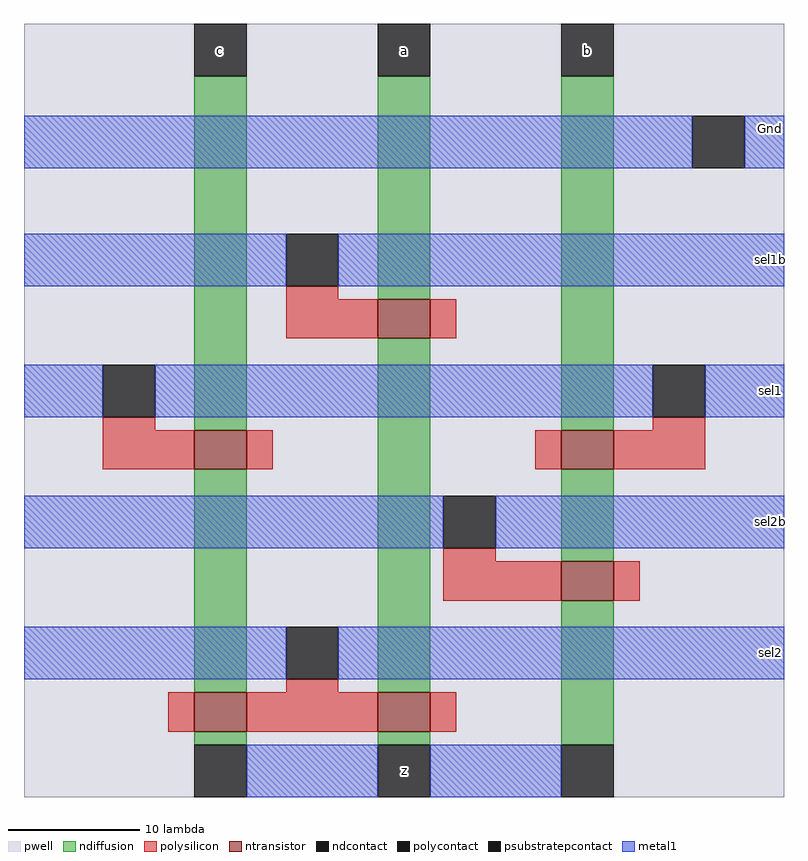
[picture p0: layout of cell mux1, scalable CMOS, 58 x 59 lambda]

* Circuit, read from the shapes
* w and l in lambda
.subckt mux1 Gnd a b c sel1 sel1b sel2 sel2b z
M1 n1 sel2 z Gnd nfet w=4 l=3
M2 c sel1 n1 Gnd nfet w=4 l=3
M3 n2 sel2 z Gnd nfet w=4 l=3
M4 a sel1b n2 Gnd nfet w=4 l=3
M5 n3 sel2b z Gnd nfet w=4 l=3
M6 b sel1 n3 Gnd nfet w=4 l=3
.ends

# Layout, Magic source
magic
tech scmos
<< pwell >>
rect -29 -38 29 21
<< polysilicon >>
rect -23 -10 -19 -9
rect -9 0 -5 1
rect -9 -3 -2 0
rect 2 -3 4 0
rect -23 -13 -16 -10
rect -12 -13 -10 -10
rect -9 -30 -5 -29
rect 19 -10 23 -9
rect 10 -13 12 -10
rect 16 -13 23 -10
rect 3 -20 7 -19
rect 3 -23 12 -20
rect 16 -23 18 -20
rect -18 -33 -16 -30
rect -12 -33 -2 -30
rect 2 -33 4 -30
<< ndiffusion >>
rect -16 -10 -12 17
rect -2 0 2 17
rect -16 -30 -12 -13
rect -2 -30 2 -3
rect 12 -10 16 17
rect 12 -20 16 -13
rect -16 -34 -12 -33
rect -2 -34 2 -33
rect 12 -34 16 -23
<< metal1 >>
rect -29 10 22 14
rect 26 10 29 14
rect -29 1 -9 5
rect -5 1 29 5
rect -29 -9 -23 -5
rect -19 -9 19 -5
rect 23 -9 29 -5
rect -29 -19 3 -15
rect 7 -19 29 -15
rect -29 -29 -9 -25
rect -5 -29 29 -25
rect -12 -38 -2 -34
rect 2 -38 12 -34
<< ntransistor >>
rect -2 -3 2 0
rect -16 -13 -12 -10
rect 12 -13 16 -10
rect 12 -23 16 -20
rect -16 -33 -12 -30
rect -2 -33 2 -30
<< polycontact >>
rect -23 -9 -19 -5
rect -9 1 -5 5
rect -9 -29 -5 -25
rect 19 -9 23 -5
rect 3 -19 7 -15
<< ndcontact >>
rect -16 17 -12 21
rect -2 17 2 21
rect 12 17 16 21
rect -16 -38 -12 -34
rect -2 -38 2 -34
rect 12 -38 16 -34
<< psubstratepcontact >>
rect 22 10 26 14
<< labels >>
rlabel ndcontact -14 19 -14 19 5 c
rlabel ndcontact 0 19 0 19 5 a
rlabel ndcontact 14 19 14 19 5 b
rlabel metal1 28 13 28 13 7 Gnd
rlabel metal1 28 3 28 3 7 sel1b
rlabel metal1 28 -7 28 -7 7 sel1
rlabel metal1 28 -17 28 -17 7 sel2b
rlabel metal1 28 -27 28 -27 7 sel2
rlabel ndcontact 0 -36 0 -36 1 z
<< end >>
